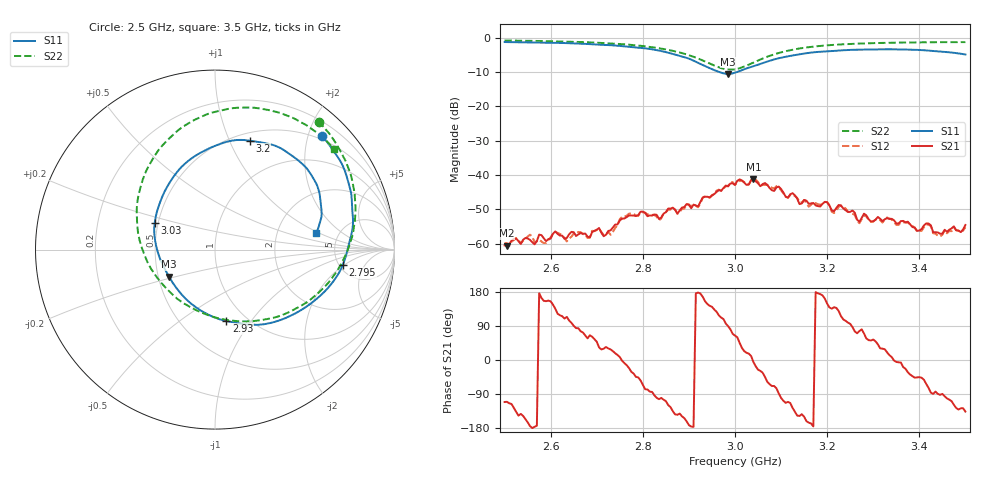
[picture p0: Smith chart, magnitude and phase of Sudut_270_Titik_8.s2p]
# Hz S RI R 50
! CMT, C1220, 16058040, 17.2.0/1
! Date: 15/08/2018 09:58:00
! Data: Format (Calibration Info)
! Freq  S11: Re/Im (F2)  S21: Re/Im (F2)  S12: Re/Im (F2)  S22: Re/Im (F2)
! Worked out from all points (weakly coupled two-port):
!   201 points, 2.5 GHz to 3.5 GHz, reference 50 ohm
!   highest |S21| = -41.15 dB at 3.04 GHz (marker M1); lowest = -60.6 dB at 2.505 GHz (marker M2)
!   lowest |S11| = -10.5 dB at 2.985 GHz (marker M3), VSWR 1.85, Z = 28.5 - j9.4 ohm
!   |S11| at or under -10 dB: 2.967 GHz to 3.003 GHz (36.41 MHz wide, 1.22 % of centre)
!   |S22| runs from -9.3 to -0.7 dB; largest |S21 - S12| = 0.00071
!   S11 on the Smith chart (normalised r, x): 2.5 GHz: 0.43, +2.25; 2.795 GHz: 5.38, -1.89; 2.93 GHz: 0.81, -0.77; 3.03 GHz: 0.48, +0.17; 3.2 GHz: 0.58, +1.19; 3.5 GHz: 3.39, +0.95
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2.5e9  0.5968 0.6333  -0.000334 -0.000878  -0.000346 -0.000955  0.5771 0.7136
2.505e9  0.603 0.626  -0.000324 -0.000877  -0.000395 -0.00093  0.5826 0.708
2.67e9  0.7577 0.3181  0.000418 0.00133  0.00047 0.00129  0.7482 0.4411
2.73e9  0.7688 0.1485  0.00138 0.000726  0.00124 0.000514  0.7797 0.288
2.755e9  0.755 0.0656  0.00231 -8e-05  0.00246 0.000128  0.7826 0.2116
2.795e9  0.7119 -0.0856  0.00172 -0.00235  0.00165 -0.00225  0.7643 0.0731
2.835e9  0.6111 -0.2335  -0.000526 -0.00222  -0.000489 -0.00212  0.7023 -0.0805
2.93e9  0.0627 -0.3977  -0.00456 0.00108  -0.00458 0.000877  0.2551 -0.3928
2.985e9  -0.2563 -0.1506  7.45e-05 0.00683  -0.000301 0.00693  -0.1736 -0.2997
3e9  -0.3073 -0.0485  0.00309 0.00648  0.00332 0.00632  -0.2747 -0.2126
3.03e9  -0.336 0.15  0.00694 0.00211  0.00698 0.00217  -0.4077 0.00943
3.04e9  -0.3234 0.2116  0.00872 -0.000833  0.00896 -0.00066  -0.4285 0.0927
3.105e9  -0.135 0.5051  -0.00168 -0.0053  -0.00172 -0.0051  -0.3276 0.5357
3.17e9  0.0994 0.6079  -0.0039 -0.000322  -0.00394 -0.00061  -0.0717 0.7422
3.2e9  0.1934 0.6064  -0.00341 0.00207  -0.00335 0.00223  0.0398 0.7764
3.27e9  0.3811 0.5561  0.000489 0.00203  0.000449 0.00193  0.2601 0.7844
3.28e9  0.4031 0.5413  0.000941 0.00257  0.00091 0.00245  0.2868 0.7796
3.335e9  0.5075 0.4567  0.00222 0.000511  0.00228 0.00043  0.4134 0.7421
3.395e9  0.5728 0.3456  0.00106 -0.0011  0.000958 -0.00117  0.522 0.684
3.42e9  0.5857 0.2875  0.000558 -0.00188  0.000564 -0.00179  0.5619 0.6563
3.445e9  0.5928 0.2246  -4.49e-05 -0.00139  -2.47e-05 -0.00126  0.5975 0.6269
3.5e9  0.5645 0.0944  -0.00134 -0.0013  -0.00132 -0.00112  0.6628 0.5599
